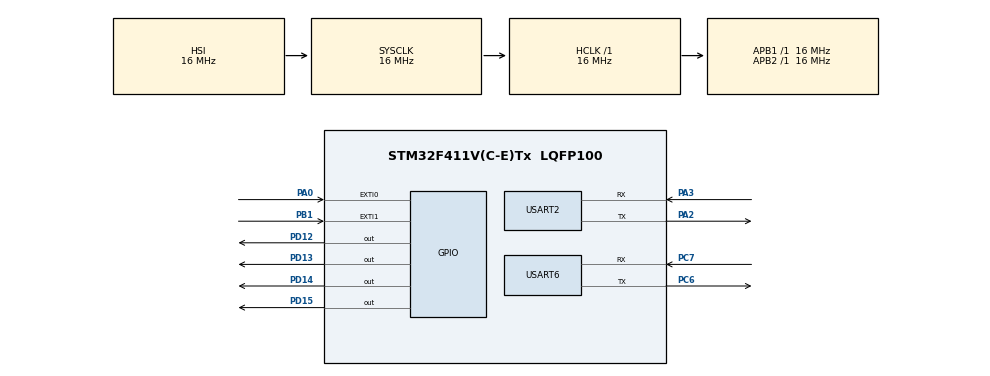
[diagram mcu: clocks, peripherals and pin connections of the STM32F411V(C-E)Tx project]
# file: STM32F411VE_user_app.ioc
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Mcu.Family=STM32F4
Mcu.Name=STM32F411V(C-E)Tx
Mcu.Package=LQFP100
NVIC.EXTI0_IRQn=true\:0\:0\:false\:false\:true\:true\:true
NVIC.EXTI1_IRQn=true\:0\:0\:false\:false\:true\:true\:true
NVIC.PriorityGroup=NVIC_PRIORITYGROUP_4
PA0-WKUP.Signal=GPXTI0
PA2.Mode=Asynchronous
PA2.Signal=USART2_TX
PA3.Mode=Asynchronous
PA3.Signal=USART2_RX
PB1.GPIO_PuPd=GPIO_PULLDOWN
PB1.Signal=GPXTI1
PC6.Mode=Asynchronous
PC6.Signal=USART6_TX
PC7.Mode=Asynchronous
PC7.Signal=USART6_RX
PD12.Signal=GPIO_Output
PD13.Signal=GPIO_Output
PD14.Signal=GPIO_Output
PD15.Signal=GPIO_Output
ProjectManager.HeapSize=0x200
ProjectManager.StackSize=0x400
ProjectManager.TargetToolchain=MDK-ARM V5
RCC.AHBFreq_Value=16000000
RCC.APB1Freq_Value=16000000
RCC.APB2Freq_Value=16000000
RCC.CortexFreq_Value=16000000
RCC.HSE_VALUE=25000000
RCC.HSI_VALUE=16000000
RCC.LSE_VALUE=32768
RCC.SYSCLKFreq_VALUE=16000000
RCC.VCOOutputFreq_Value=192000000
USART2.VirtualMode=VM_ASYNC
USART6.VirtualMode=VM_ASYNC
board=custom

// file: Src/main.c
/* USER CODE BEGIN Header */
/**
  ******************************************************************************
  * @file           : main.c
  * @brief          : Main program body
  ******************************************************************************
  * @attention
  *
  * <h2><center>&copy; Copyright (c) 2019 STMicroelectronics.
  * All rights reserved.</center></h2>
  *
  * This software component is licensed by ST under BSD 3-Clause license,
  * the "License"; You may not use this file except in compliance with the
  * License. You may obtain a copy of the License at:
  *                        opensource.org/licenses/BSD-3-Clause
  *
  ******************************************************************************
  */
/* USER CODE END Header */

#include "main.h"

/* USER CODE BEGIN Includes */
#include <stdarg.h>
#include <stdio.h>
#include <string.h>
#include <stdlib.h>
/* USER CODE END Includes */

/* USER CODE BEGIN PD */
#define BL_DEBEG_MSG_EN

#define C_UART		&huart2
#define D_UART		&huart6

#define MAX_RX_BUFFER	64
/* USER CODE END PD */

UART_HandleTypeDef huart2;
UART_HandleTypeDef huart6;

void SystemClock_Config(void);
static void MX_GPIO_Init(void);
static void MX_USART6_UART_Init(void);
static void MX_USART2_UART_Init(void);
/* USER CODE BEGIN PFP */
static void print_debug_msg(char *format,...);
void ISR_buttom_half();
/* USER CODE END PFP */

/* USER CODE BEGIN 0 */
SignatureTypeDef signature_sector;
uint8_t	rx_buffer[MAX_RX_BUFFER] = {0};
uint32_t flag;					// For testing
/* USER CODE END 0 */

int main(void)
{
  /* USER CODE BEGIN 1 */
	//bootSectorStatus.current 					= 0x08008000;	//sector 2
	//bootSectorStatus.update						= 0x08010000;	//sector 4
	//bootSectorStatus.updateAvailable	=	FALSE;

	//write_to_flash(0, &bootSectorStatus,3);

  /* USER CODE END 1 */

  /* MCU Configuration--------------------------------------------------------*/

  /* Reset of all peripherals, Initializes the Flash interface and the Systick. */
  HAL_Init();

  /* Configure the system clock */
  SystemClock_Config();

  /* Initialize all configured peripherals */
  MX_GPIO_Init();
  MX_USART6_UART_Init();
  MX_USART2_UART_Init();
  /* USER CODE BEGIN 2 */

	//char someData[] = "Hello from USER APP\r\n";
  /* USER CODE END 2 */
	//FLASH_EraseSector();
	signature_sector = *(SignatureTypeDef *)(uint32_t *)SIGNATURE_FLASH_ADDRESS;
  /* Infinite loop */
  while (1)
  {
//		signature_sector.sector_no = 2;
//		signature_sector.starting_address = 0x08008000;
//		signature_sector.updateAvailable = 1;
//		write_to_flash_word(0,&signature_sector,4);
		HAL_GPIO_TogglePin(GPIOD, GPIO_PIN_12 | GPIO_PIN_13 | GPIO_PIN_14 | GPIO_PIN_15);
		HAL_Delay(1000);
  }
}

void SystemClock_Config(void)
{
  RCC_OscInitTypeDef RCC_OscInitStruct = {0};
  RCC_ClkInitTypeDef RCC_ClkInitStruct = {0};

  /** Configure the main internal regulator output voltage
  */
  __HAL_RCC_PWR_CLK_ENABLE();
  __HAL_PWR_VOLTAGESCALING_CONFIG(PWR_REGULATOR_VOLTAGE_SCALE1);
  /** Initializes the CPU, AHB and APB busses clocks
  */
  RCC_OscInitStruct.OscillatorType = RCC_OSCILLATORTYPE_HSI;
  RCC_OscInitStruct.HSIState = RCC_HSI_ON;
  RCC_OscInitStruct.HSICalibrationValue = RCC_HSICALIBRATION_DEFAULT;
  RCC_OscInitStruct.PLL.PLLState = RCC_PLL_NONE;
  if (HAL_RCC_OscConfig(&RCC_OscInitStruct) != HAL_OK)
  {
    Error_Handler();
  }
  /** Initializes the CPU, AHB and APB busses clocks
  */
  RCC_ClkInitStruct.ClockType = RCC_CLOCKTYPE_HCLK|RCC_CLOCKTYPE_SYSCLK
                              |RCC_CLOCKTYPE_PCLK1|RCC_CLOCKTYPE_PCLK2;
  RCC_ClkInitStruct.SYSCLKSource = RCC_SYSCLKSOURCE_HSI;
  RCC_ClkInitStruct.AHBCLKDivider = RCC_SYSCLK_DIV1;
  RCC_ClkInitStruct.APB1CLKDivider = RCC_HCLK_DIV1;
  RCC_ClkInitStruct.APB2CLKDivider = RCC_HCLK_DIV1;

  if (HAL_RCC_ClockConfig(&RCC_ClkInitStruct, FLASH_LATENCY_0) != HAL_OK)
  {
    Error_Handler();
  }
}

static void MX_USART2_UART_Init(void)
{

  huart2.Instance = USART2;
  huart2.Init.BaudRate = 115200;
  huart2.Init.WordLength = UART_WORDLENGTH_8B;
  huart2.Init.StopBits = UART_STOPBITS_1;
  huart2.Init.Parity = UART_PARITY_NONE;
  huart2.Init.Mode = UART_MODE_TX_RX;
  huart2.Init.HwFlowCtl = UART_HWCONTROL_NONE;
  huart2.Init.OverSampling = UART_OVERSAMPLING_16;
  if (HAL_UART_Init(&huart2) != HAL_OK)
  {
    Error_Handler();
  }

}

static void MX_USART6_UART_Init(void)
{

  huart6.Instance = USART6;
  huart6.Init.BaudRate = 115200;
  huart6.Init.WordLength = UART_WORDLENGTH_8B;
  huart6.Init.StopBits = UART_STOPBITS_1;
  huart6.Init.Parity = UART_PARITY_NONE;
  huart6.Init.Mode = UART_MODE_TX_RX;
  huart6.Init.HwFlowCtl = UART_HWCONTROL_NONE;
  huart6.Init.OverSampling = UART_OVERSAMPLING_16;
  if (HAL_UART_Init(&huart6) != HAL_OK)
  {
    Error_Handler();
  }

}

static void MX_GPIO_Init(void)
{
  GPIO_InitTypeDef GPIO_InitStruct = {0};

  /* GPIO Ports Clock Enable */
  __HAL_RCC_GPIOA_CLK_ENABLE();
  __HAL_RCC_GPIOB_CLK_ENABLE();
  __HAL_RCC_GPIOD_CLK_ENABLE();
  __HAL_RCC_GPIOC_CLK_ENABLE();

  /*Configure GPIO pin Output Level */
  HAL_GPIO_WritePin(GPIOD, GPIO_PIN_12|GPIO_PIN_13|GPIO_PIN_14|GPIO_PIN_15, GPIO_PIN_RESET);

  /*Configure GPIO pin : PA0 */
  GPIO_InitStruct.Pin = GPIO_PIN_0;
  GPIO_InitStruct.Mode = GPIO_MODE_IT_RISING;
  GPIO_InitStruct.Pull = GPIO_NOPULL;
  HAL_GPIO_Init(GPIOA, &GPIO_InitStruct);

  /*Configure GPIO pin : PB1 */
  GPIO_InitStruct.Pin = GPIO_PIN_1;
  GPIO_InitStruct.Mode = GPIO_MODE_IT_RISING;
  GPIO_InitStruct.Pull = GPIO_PULLDOWN;
  HAL_GPIO_Init(GPIOB, &GPIO_InitStruct);

  /*Configure GPIO pins : PD12 PD13 PD14 PD15 */
  GPIO_InitStruct.Pin = GPIO_PIN_12|GPIO_PIN_13|GPIO_PIN_14|GPIO_PIN_15;
  GPIO_InitStruct.Mode = GPIO_MODE_OUTPUT_PP;
  GPIO_InitStruct.Pull = GPIO_NOPULL;
  GPIO_InitStruct.Speed = GPIO_SPEED_FREQ_LOW;
  HAL_GPIO_Init(GPIOD, &GPIO_InitStruct);

  /* EXTI interrupt init*/
  HAL_NVIC_SetPriority(EXTI0_IRQn, 0, 0);
  HAL_NVIC_EnableIRQ(EXTI0_IRQn);

  HAL_NVIC_SetPriority(EXTI1_IRQn, 0, 0);
  HAL_NVIC_EnableIRQ(EXTI1_IRQn);

}

/* USER CODE BEGIN 4 */

static void print_debug_msg(char *format,...)
{
	#ifdef BL_DEBEG_MSG_EN
	char str[80];

	va_list args;
	va_start(args, format);
	vsprintf(str, format, args);
	HAL_UART_Transmit(D_UART,(uint8_t *)str, strlen(str),HAL_MAX_DELAY);
	va_end(args);
	#endif
}

static void FLASH_EraseSector(void)
{
	HAL_FLASH_Unlock();
	FLASH_Erase_Sector(SIGNATURE_SECTOR_NO, FLASH_VOLTAGE_RANGE_3);
	HAL_FLASH_Lock();
}

void write_to_flash_word(uint32_t offSet, void *wrBuf, uint32_t Nsize)
{
	uint32_t flash_address = SIGNATURE_FLASH_ADDRESS + offSet;

	//Erase sector before write
	FLASH_EraseSector();				// This will increasing the latency by substancial amount

	//Unlock Flash
	HAL_FLASH_Unlock();
	//HAL_FLASH_Program(FLASH_TYPEPROGRAM_WORD, flashAddress + 8, 0xFFFFFFFF);
	//Write to Flash
	for(uint32_t i=0; i<Nsize; i++)
	{
		//flag = ((uint32_t *)wrBuf)[i];
		HAL_FLASH_Program(FLASH_TYPEPROGRAM_WORD, flash_address , ((uint32_t *)wrBuf)[i]);
		//HAL_Delay(2000);
		flash_address+=4;
	}

	//Lock the Flash space
	HAL_FLASH_Lock();
}

//Defining callback for the external interrupt
void HAL_GPIO_EXTI_Callback(uint16_t GPIO_Pin)
{
  /* Prevent unused argument(s) compilation warning */
  UNUSED(GPIO_Pin);
  /* NOTE: This function Should not be modified, when the callback is needed,
           the HAL_GPIO_EXTI_Callback could be implemented in the user file
   */

	if(GPIO_Pin == GPIO_PIN_1)//Original GPIO_PIN_0
	{
		// Update Switch Pressed
		signature_sector = *(SignatureTypeDef *)(uint32_t *)SIGNATURE_FLASH_ADDRESS;	// Reading Boot status structure from flash
		if(signature_sector.updateAvailable == TRUE)
		{
			//JUMP TO BOOTLOADER
			print_debug_msg("Bootloader JUMP\r\n");

			// Reset MCU
			NVIC_SystemReset();
			//while(1)
			//{
			//	HAL_GPIO_TogglePin(GPIOD, GPIO_PIN_12 | GPIO_PIN_13 | GPIO_PIN_14 | GPIO_PIN_15);
			//	HAL_Delay(200);
			//}
			//{ JUMP CODE TO BE WRITTEN}
			// DEBOUNCING DELAY
		}
	}

	if(GPIO_Pin == GPIO_PIN_0)//Original GPIO_PIN_1
	{
		//HAL_NVIC_DisableIRQ(EXTI1_IRQn);
		ISR_buttom_half();
		//HAL_NVIC_EnableIRQ(EXTI1_IRQn);
	}
}

OTAUpdateRequestTypeDef* parsing_update_request(OTAUpdateRequestTypeDef *handle, char *data)
{
	char* token = strtok(data, "$");
	strcpy(handle->board, token);

	token = strtok(NULL, "$");
	handle->version = (uint32_t)strtol(token, NULL, 10);

	token = strtok(NULL, "$");
	strcpy(handle->secure_id, token);

	token = strtok(NULL, "$");
	handle->sector_no = (uint32_t)strtol(token, NULL, 10);

	token = strtok(NULL, "$");
	handle->sector_addr = (uint32_t)strtol(token, NULL, 16);

	return handle;
}

char *strrev(char *str)
{
	char c, *front, *back;
	if(!str || !*str)
			return str;
	for(front=str,back=str+strlen(str)-1;front < back;front++,back--){
			c=*front;*front=*back;*back=c;
	}
	return str;
}

void ISR_buttom_half()
{
			// Update is available processing event
		//Create a buffer for receive on uart
		OTAUpdateRequestTypeDef update_request;
		//SignatureTypeDef temp;
		uint8_t flag = 0;

		signature_sector = *(SignatureTypeDef *)(uint32_t *)SIGNATURE_FLASH_ADDRESS; 	// Reading Boot status structure from flash
		//uint32_t current = signature_sector.current;

		memset(rx_buffer, 0, MAX_RX_BUFFER);
		//1. 1st response from stm32 to esp as it has ack for update structure
		HAL_UART_Transmit(C_UART, &response, 1, HAL_MAX_DELAY);
		//Prepare the buffer for receiving update information
		HAL_UART_Receive(C_UART, rx_buffer, MAX_RX_BUFFER, HAL_MAX_DELAY);

		parsing_update_request(&update_request, (char *)rx_buffer);

		if((strcmp(BOARD_NAME, update_request.board) == 0)
					&& (strcmp(SECURE_ID, update_request.secure_id) == 0)
					/*&& (strcmp(signature_sector.version,update_request.version) == 0)*/)
		{
			flag = 1;
		}
		else
		{
			flag = 0;
		}

		if(flag == 1)
		{
			//AUTH Success
			//signature_sector.current = signature_sector.starting_address;
			signature_sector.sector_no = update_request.sector_no;
			signature_sector.sector_addr = update_request.sector_addr;
			signature_sector.version = update_request.version;
			signature_sector.updateAvailable = TRUE;									// Setting Flag of update available

			write_to_flash_word(0, &signature_sector, 5);										// Writing the updated structure to flash
			//HAL_GPIO_WritePin(GPIOD, GPIO_PIN_12, GPIO_PIN_SET);			// Making Green LED ON as a status of available update
		//bootSectorStatus.updateAvailable = FALSE;	// For TESTING
			//Response to the ESP
			//temp = *(SignatureTypeDef *)(uint32_t *)SIGNATURE_FLASH_ADDRESS;
			strrev(update_request.secure_id);//Reverse of secure id
			HAL_UART_Transmit(C_UART,(uint8_t *)update_request.secure_id, strlen(update_request.secure_id),HAL_MAX_DELAY);
			HAL_UART_Transmit(C_UART, &response, 1, HAL_MAX_DELAY);
			return;
		}
		else
		{
			//Failed AUTH
			//Return same secure id which was received
			HAL_UART_Transmit(C_UART,(uint8_t *)update_request.secure_id, strlen(update_request.secure_id),HAL_MAX_DELAY);
			HAL_UART_Transmit(C_UART, &response, 1, HAL_MAX_DELAY);
		}
}
/* USER CODE END 4 */

void Error_Handler(void)
{
}

/************************ (C) COPYRIGHT STMicroelectronics *****END OF FILE****/
